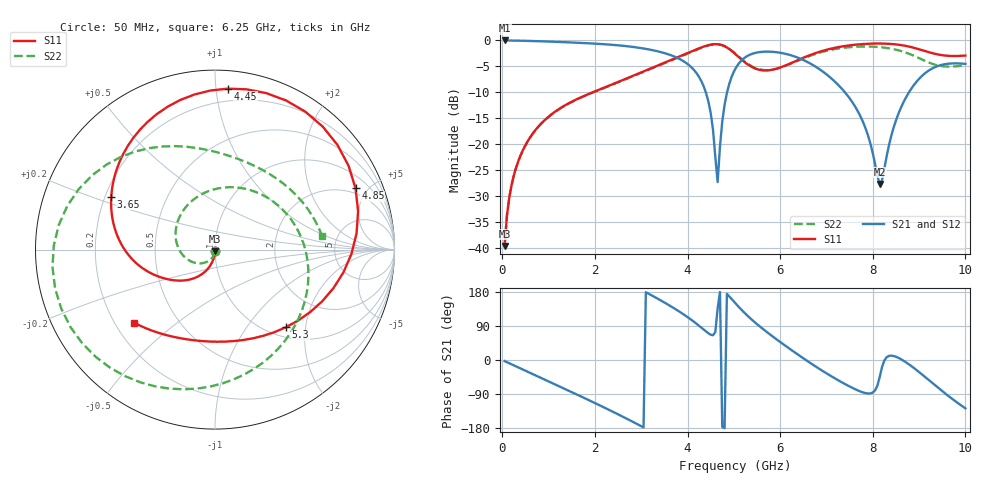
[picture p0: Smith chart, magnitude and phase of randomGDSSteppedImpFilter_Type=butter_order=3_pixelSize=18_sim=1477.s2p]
! freq	dB(S11)	phase(S11)	dB(S12)	phase(S12)
!  dB(S21)	phase(S21)	dB(S22)	phase(S22)
!S-par simulation data
#  GHz  S  DB  R 50
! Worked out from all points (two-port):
!   200 points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, 50 MHz to 10 GHz, reference 50 ohm
!   highest |S21| = -0.01 dB at 50 MHz (marker M1); lowest = -27.7 dB at 8.15 GHz (marker M2)
!   |S21| within 3 dB of the highest: start of sweep to 3.685 GHz; 5.292 GHz to 6.281 GHz (989.6 MHz wide, 17.1 % of centre)
!   lowest |S11| = -39.7 dB at 50 MHz (marker M3), VSWR 1.02, Z = 50 - j1.04 ohm
!   |S11| at or under -10 dB: start of sweep to 1.956 GHz
!   |S22| runs from -39.7 to -0.7 dB; largest |S21 - S12| = 0
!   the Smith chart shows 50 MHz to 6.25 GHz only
!   S11 on the Smith chart (normalised r, x): 50 MHz: 1.00, -0.02; 3.65 GHz: 0.22, +0.23; 4.45 GHz: 0.11, +1.08; 4.85 GHz: 1.66, +4.17; 5.3 GHz: 1.19, -1.57; 6.25 GHz: 0.28, -0.36
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0.05  -39.69 -89.4  -0.01 -2.9  -0.01 -2.9  -39.72 -91.6
0.2  -27.93 -96.9  -0.03 -11.4  -0.03 -11.4  -27.97 -105.8
0.5  -20.22 -107.5  -0.08 -28.4  -0.08 -28.4  -20.25 -130.2
1.75  -10.78 -143.9  -0.50 -99.1  -0.50 -99.1  -10.82 124.3
2.55  -7.84 -163.8  -0.99 -146.4  -0.99 -146.4  -7.91 49.6
3.4  -4.68 165.7  -2.20 158.8  -2.20 158.8  -4.77 -29.9
3.65  -3.76 152.9  -2.89 141.0  -2.89 141.0  -3.85 -53.0
4.45  -0.92 85.5  -11.79 70.6  -11.79 70.6  -0.97 -138.1
4.65  -0.74 56.8  -27.35 135.9  -27.35 135.9  -0.75 -166.3
4.85  -1.37 23.5  -10.15 174.5  -10.15 174.5  -1.33 163.5
5.05  -2.77 -10.1  -5.20 147.6  -5.20 147.6  -2.68 135.2
5.3  -4.64 -47.5  -2.96 116.3  -2.96 116.3  -4.51 105.6
5.7  -5.80 -93.6  -2.16 75.0  -2.16 75.0  -5.75 64.8
6.25  -4.33 -138.0  -2.92 25.7  -2.92 25.7  -4.41 7.4
6.7  -2.65 -168.5  -4.71 -11.8  -4.71 -11.8  -2.80 -38.7
7.4  -1.08 148.1  -10.03 -63.5  -10.03 -63.5  -1.40 -104.3
8.15  -0.60 106.4  -27.70 -44.8  -27.70 -44.8  -1.30 -174.9
8.35  -0.66 95.7  -20.22 10.9  -20.22 10.9  -1.52 163.1
8.85  -1.34 70.3  -9.09 -17.6  -9.09 -17.6  -2.82 94.7
9.3  -2.49 53.3  -5.34 -62.2  -5.34 -62.2  -4.57 12.6
9.65  -2.99 44.8  -4.48 -96.6  -4.48 -96.6  -5.06 -53.9
10  -2.93 36.2  -4.53 -127.6  -4.53 -127.6  -4.82 -110.7
